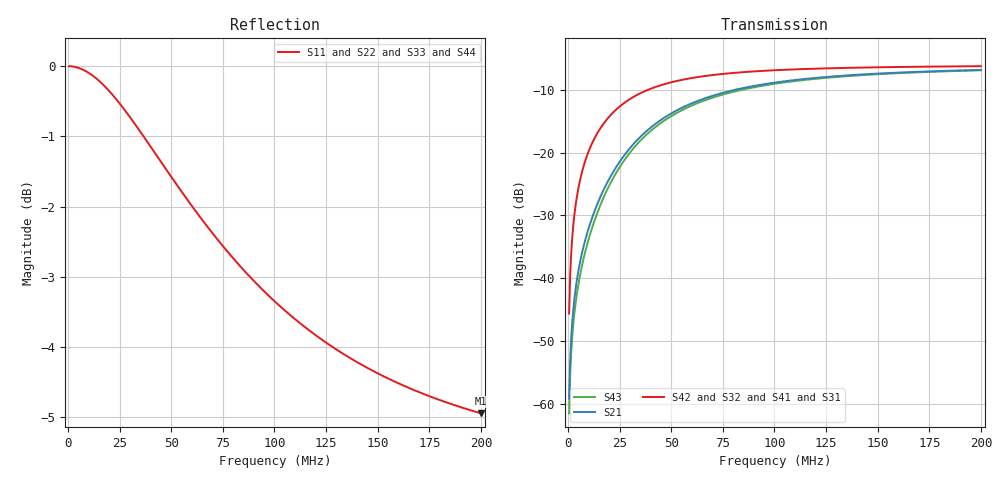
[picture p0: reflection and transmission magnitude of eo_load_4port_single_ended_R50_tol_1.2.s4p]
! Created with skrf 2.0.1 (http://scikit-rf.org).
# Hz S RI R 50.0
!freq ReS11 ImS11 ReS12 ImS12 ReS13 ImS13
! ReS14 ImS14
! ReS21 ImS21 ReS22 ImS22 ReS23 ImS23
! ReS24 ImS24
! ReS31 ImS31 ReS32 ImS32 ReS33 ImS33
! ReS34 ImS34
! ReS41 ImS41 ReS42 ImS42 ReS43 ImS43
! ReS44 ImS44
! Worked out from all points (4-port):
!   400 points, 500 kHz to 200 MHz, reference 50 ohm
!   strongest paths, dB at 500 kHz, 50.5 MHz, 100.5 MHz, 150.5 MHz, 200 MHz:
!     S42: -45.6, -8.8, -6.9, -6.4, -6.3
!     S32: -45.6, -8.8, -6.9, -6.4, -6.3
!     S41: -45.6, -8.8, -6.9, -6.4, -6.3
!     S31: -45.6, -8.8, -6.9, -6.4, -6.3
!     S21: -59.1, -13.7, -8.9, -7.4, -6.9
!     S43: -61.5, -14.1, -9.0, -7.5, -6.9
!   lowest |S11| = -4.9 dB at 200 MHz (marker M1), VSWR 3.61, Z = 17 - j22.7 ohm
!   |S11| at or under -10 dB: nowhere
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500000  0.9999 -0.0116  -1.47e-05 0.00111  5.52e-05 0.00525  5.52e-05 0.00525
        -1.47e-05 0.00111  0.9999 -0.0116  5.52e-05 0.00525  5.52e-05 0.00525
        5.52e-05 0.00525  5.52e-05 0.00525  0.9999 -0.0114  -1.8e-05 0.000846
        5.52e-05 0.00525  5.52e-05 0.00525  -1.8e-05 0.000846  0.9999 -0.0114
1500000  0.9991 -0.0348  -0.000132 0.00334  0.000496 0.0157  0.000496 0.0157
         -0.000132 0.00334  0.9991 -0.0348  0.000496 0.0157  0.000496 0.0157
         0.000496 0.0157  0.000496 0.0157  0.9992 -0.034  -0.000162 0.00255
         0.000496 0.0157  0.000496 0.0157  -0.000162 0.00255  0.9992 -0.034
3000000  0.9966 -0.0695  -0.000524 0.00673  0.00198 0.0314  0.00198 0.0314
         -0.000524 0.00673  0.9966 -0.0695  0.00198 0.0314  0.00198 0.0314
         0.00198 0.0314  0.00198 0.0314  0.9967 -0.0679  -0.000642 0.00515
         0.00198 0.0314  0.00198 0.0314  -0.000642 0.00515  0.9967 -0.0679
9500000  0.9664 -0.2152  -0.00476 0.0232  0.0192 0.096  0.0192 0.096
         -0.00476 0.0232  0.9664 -0.2152  0.0192 0.096  0.0192 0.096
         0.0192 0.096  0.0192 0.096  0.9676 -0.2104  -0.00591 0.0184
         0.0192 0.096  0.0192 0.096  -0.00591 0.0184  0.9676 -0.2104
4.1e7  0.5729 -0.6574  0.000972 0.1629  0.213 0.2473  0.213 0.2473
       0.000972 0.1629  0.5729 -0.6574  0.213 0.2473  0.213 0.2473
       0.213 0.2473  0.213 0.2473  0.5869 -0.6473  -0.0129 0.1528
       0.213 0.2473  0.213 0.2473  -0.0129 0.1528  0.5869 -0.6473
1.05e8  -0.0559 -0.6677  0.2262 0.2917  0.4148 0.188  0.4148 0.188
        0.2262 0.2917  -0.0559 -0.6677  0.4148 0.188  0.4148 0.188
        0.4148 0.188  0.4148 0.188  -0.0361 -0.673  0.2065 0.2971
        0.4148 0.188  0.4148 0.188  0.2065 0.2971  -0.0361 -0.673
2e8  -0.3395 -0.4529  0.3931 0.2277  0.4732 0.1126  0.4732 0.1126
     0.3931 0.2277  -0.3395 -0.4529  0.4732 0.1126  0.4732 0.1126
     0.4732 0.1126  0.4732 0.1126  -0.3294 -0.4635  0.383 0.2383
     0.4732 0.1126  0.4732 0.1126  0.383 0.2383  -0.3294 -0.4635
